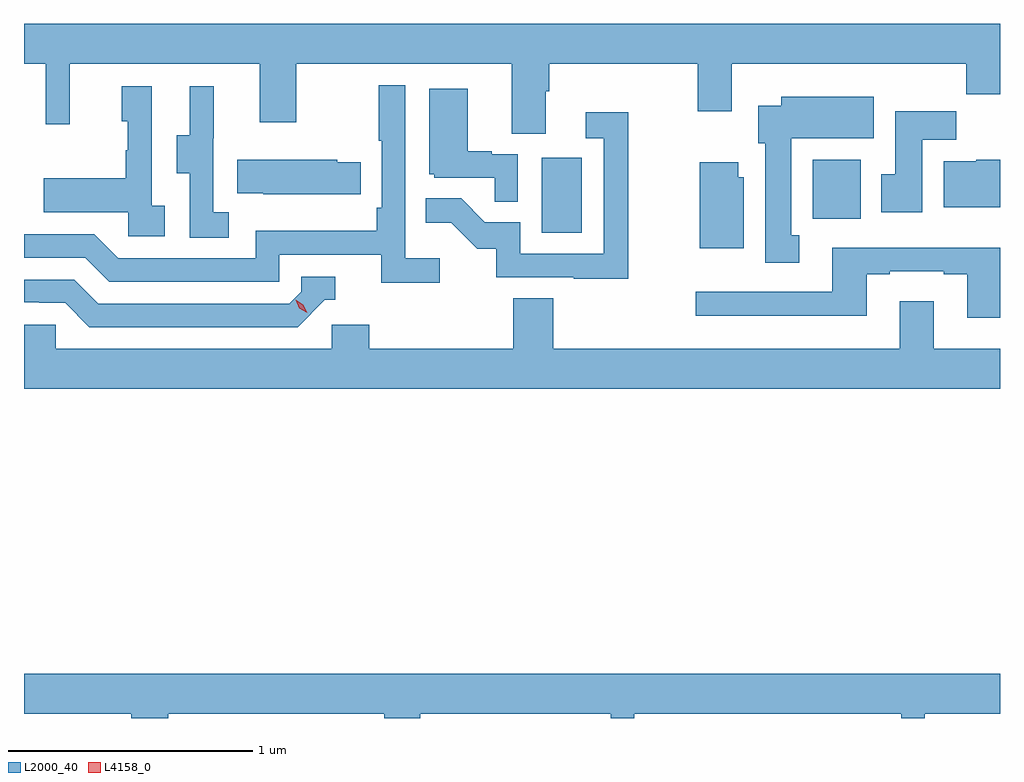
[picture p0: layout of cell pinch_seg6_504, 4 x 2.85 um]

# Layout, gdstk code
import gdstk
lib = gdstk.Library(unit=1e-6, precision=1e-09)
def R(c, l, rs):  # rectangles x0, y0, x1, y1
    for r in rs: c.add(gdstk.rectangle(r[:2], r[2:], *l))
def P(c, l, *ps):  # polygons
    for p in ps: c.add(gdstk.Polygon(p, *l))
L2000_40 = (2000, 40)
L4158_0 = (4158, 0)

pinch_seg6_504 = lib.new_cell('pinch_seg6_504')
R(pinch_seg6_504, L2000_40, [(880.202,927.996,880.366,928.303), (881.312,928.052,881.509,928.294)])
P(pinch_seg6_504, L2000_40, [(880.219,928.576),(880.232,928.576),(880.232,928.688),(880.841,928.688),(880.841,928.494),(880.981,928.494),(880.981,928.688),(881.941,928.688),(881.941,928.564),(882.08,928.564),(882.08,928.852),(878.08,928.852),(878.08,928.688),(878.169,928.688),(878.169,928.44),(878.267,928.44),(878.267,928.688),(879.047,928.688),(879.047,928.449),(879.195,928.449),(879.195,928.688),(880.079,928.688),(880.079,928.402),(880.219,928.402)],
  [(879.784,927.892),(879.642,927.892),(879.642,928.6),(879.534,928.6),(879.534,928.372),(879.546,928.372),(879.546,928.099),(879.526,928.099),(879.526,928.003),(879.03,928.003),(879.03,927.891),(878.466,927.891),(878.367,927.99),(878.08,927.99),(878.08,927.894),(878.33,927.894),(878.429,927.795),(879.126,927.795),(879.126,927.906),(879.545,927.906),(879.545,927.79),(879.784,927.79)],
  [(878.92,928.079),(878.856,928.079),(878.856,928.383),(878.858,928.383),(878.858,928.597),(878.759,928.597),(878.759,928.395),(878.705,928.395),(878.705,928.24),(878.76,928.24),(878.76,927.976),(878.92,927.976)],
  [(878.656,928.106),(878.604,928.106),(878.604,928.597),(878.48,928.597),(878.48,928.452),(878.506,928.452),(878.506,928.334),(878.496,928.334),(878.496,928.219),(878.161,928.219),(878.161,928.079),(878.508,928.079),(878.508,927.981),(878.656,927.981)],
  [(880.104,928.317),(879.998,928.317),(879.998,928.33),(879.898,928.33),(879.898,928.585),(879.74,928.585),(879.74,928.236),(879.762,928.236),(879.762,928.221),(880.009,928.221),(880.009,928.123),(880.104,928.123)],
  [(881.257,927.986),(881.224,927.986),(881.224,928.382),(881.563,928.382),(881.563,928.552),(881.183,928.552),(881.183,928.516),(881.09,928.516),(881.09,928.362),(881.117,928.362),(881.117,927.873),(881.257,927.873)],
  [(881.761,928.376),(881.9,928.376),(881.9,928.494),(881.651,928.494),(881.651,928.236),(881.594,928.236),(881.594,928.08),(881.761,928.08)],
  [(880.556,928.489),(880.383,928.489),(880.383,928.383),(880.455,928.383),(880.455,927.909),(880.113,927.909),(880.113,928.038),(879.969,928.038),(879.871,928.136),(879.727,928.136),(879.727,928.037),(879.831,928.037),(879.938,927.93),(880.015,927.93),(880.015,927.813),(880.333,927.813),(880.333,927.808),(880.556,927.808)],
  [(882.08,928.294),(881.982,928.294),(881.982,928.288),(881.849,928.288),(881.849,928.1),(882.08,928.1)],
  [(879.461,928.284),(879.363,928.284),(879.363,928.294),(878.953,928.294),(878.953,928.157),(879.061,928.157),(879.061,928.154),(879.461,928.154)],
  [(881.029,928.224),(881.008,928.224),(881.008,928.285),(880.85,928.285),(880.85,927.932),(881.029,927.932)],
  [(882.08,927.934),(881.393,927.934),(881.393,927.753),(880.833,927.753),(880.833,927.656),(881.533,927.656),(881.533,927.825),(881.629,927.825),(881.629,927.837),(881.849,927.837),(881.849,927.825),(881.945,927.825),(881.945,927.648),(882.08,927.648)],
  [(879.312,927.72),(879.355,927.72),(879.355,927.816),(879.216,927.816),(879.216,927.753),(879.168,927.705),(878.385,927.705),(878.286,927.804),(878.08,927.804),(878.08,927.711),(878.142,927.711),(878.142,927.708),(878.249,927.708),(878.348,927.609),(879.201,927.609)],
  [(882.08,927.52),(881.809,927.52),(881.809,927.715),(881.669,927.715),(881.669,927.52),(880.25,927.52),(880.25,927.728),(880.085,927.728),(880.085,927.52),(879.494,927.52),(879.494,927.618),(879.342,927.618),(879.342,927.52),(878.211,927.52),(878.211,927.618),(878.08,927.618),(878.08,927.356),(882.08,927.356)],
  [(878.671,926.024),(879.556,926.024),(879.556,926.006),(879.703,926.006),(879.703,926.024),(880.484,926.024),(880.484,926.006),(880.581,926.006),(880.581,926.024),(881.676,926.024),(881.676,926.006),(881.772,926.006),(881.772,926.024),(882.08,926.024),(882.08,926.188),(878.08,926.188),(878.08,926.024),(878.519,926.024),(878.519,926.006),(878.671,926.006)])
P(pinch_seg6_504, L4158_0, [(879.24,927.668),(879.209,927.687),(879.194,927.72),(879.194,927.72),(879.194,927.72),(879.224,927.701),(879.24,927.668),(879.24,927.668)])

lib.write_gds('pinch_seg6_504.gds')
